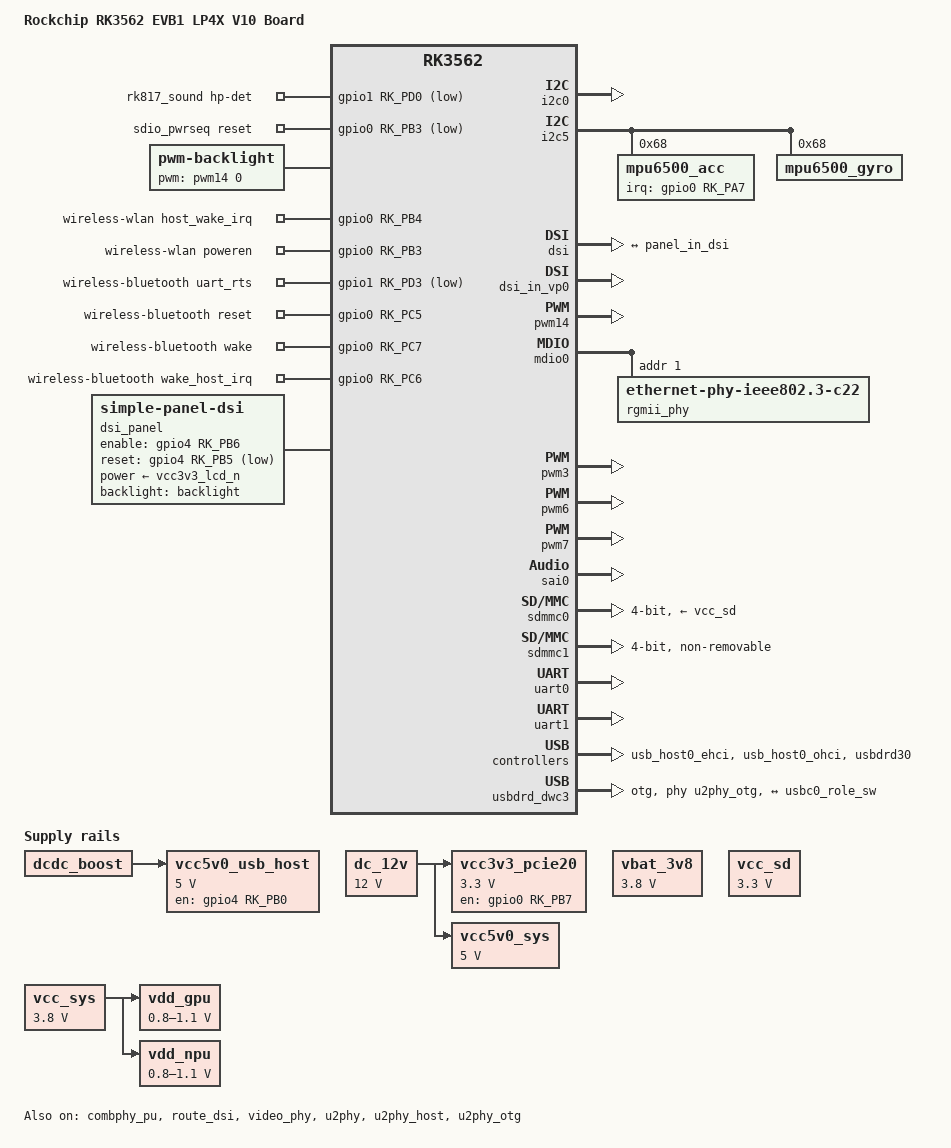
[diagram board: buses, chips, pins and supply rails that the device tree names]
// SPDX-License-Identifier: (GPL-2.0+ OR MIT)
/*
 * Copyright (c) 2022 Rockchip Electronics Co., Ltd.
 *
 */

/dts-v1/;

#include "dt-bindings/usb/pd.h"
#include "rk3562.dtsi"
#include "rk3562-evb.dtsi"
#include "rk3562-evb1-cam.dtsi"
#include <dt-bindings/gpio/gpio.h>
#include <dt-bindings/pinctrl/rockchip.h>
#include <dt-bindings/sensor-dev.h>
#include <dt-bindings/display/drm_mipi_dsi.h>

/ {
	model = "Rockchip RK3562 EVB1 LP4X V10 Board";
	compatible = "rockchip,rk3562-evb1-lp4x-v10", "rockchip,rk3562";

	dc_12v: dc-12v {
		compatible = "regulator-fixed";
		regulator-name = "dc_12v";
		regulator-always-on;
		regulator-boot-on;
		regulator-min-microvolt = <12000000>;
		regulator-max-microvolt = <12000000>;
	};

	rk817_sound: rk817-sound {
		status = "okay";
		compatible = "rockchip,multicodecs-card";
		rockchip,card-name = "rockchip-rk817";
		hp-det-gpio = <&gpio1 RK_PD0 GPIO_ACTIVE_LOW>;
		rockchip,format = "i2s";
		rockchip,mclk-fs = <256>;
		rockchip,cpu = <&sai0>;
		rockchip,codec = <&rk817_codec>;
		pinctrl-names = "default";
		pinctrl-0 = <&hp_det>;
	};

	sdio_pwrseq: sdio-pwrseq {
		compatible = "mmc-pwrseq-simple";
		clocks = <&rk817 1>;
		clock-names = "ext_clock";
		pinctrl-names = "default";
		pinctrl-0 = <&wifi_enable_h>;

		/*
		 * On the module itself this is one of these (depending
		 * on the actual card populated):
		 * - SDIO_RESET_L_WL_REG_ON
		 * - PDN (power down when low)
		 */
		post-power-on-delay-ms = <200>;
		reset-gpios = <&gpio0 RK_PB3 GPIO_ACTIVE_LOW>;
	};

	vcc3v3_pcie20: vcc3v3-pcie20 {
		compatible = "regulator-fixed";
		regulator-name = "vcc3v3_pcie20";
		regulator-min-microvolt = <3300000>;
		regulator-max-microvolt = <3300000>;
		enable-active-high;
		gpios = <&gpio0 RK_PB7 GPIO_ACTIVE_HIGH>;
		startup-delay-us = <5000>;
		vin-supply = <&dc_12v>;
	};

	vcc5v0_sys: vcc5v0-sys {
		compatible = "regulator-fixed";
		regulator-name = "vcc5v0_sys";
		regulator-always-on;
		regulator-boot-on;
		regulator-min-microvolt = <5000000>;
		regulator-max-microvolt = <5000000>;
		vin-supply = <&dc_12v>;
	};

	vcc5v0_usb_host: vcc5v0-usb-host {
		compatible = "regulator-fixed";
		regulator-name = "vcc5v0_usb_host";
		regulator-boot-on;
		regulator-always-on;
		regulator-min-microvolt = <5000000>;
		regulator-max-microvolt = <5000000>;
		enable-active-high;
		gpio = <&gpio4 RK_PB0 GPIO_ACTIVE_HIGH>;
		vin-supply = <&dcdc_boost>;
		pinctrl-names = "default";
		pinctrl-0 = <&usb_host_pwren>;
	};

	vbat_3v8: vbat-3v8 {
		compatible = "regulator-fixed";
		regulator-name = "vbat_3v8";
		regulator-always-on;
		regulator-boot-on;
		regulator-min-microvolt = <3800000>;
		regulator-max-microvolt = <3800000>;
	};

	vcc_sd: vcc-sd {
		compatible = "regulator-gpio";
		enable-active-low;
		regulator-boot-on;
		gpios = <&gpio0 RK_PA5 GPIO_ACTIVE_LOW>;
		regulator-min-microvolt = <3300000>;
		regulator-max-microvolt = <3300000>;
		pinctrl-names = "default";
		pinctrl-0 = <&vcc_sd_h>;
		regulator-name = "vcc_sd";
		states = <0 0x0
			  3300000 0x1>;
	};

	vcc_sys: vcc-sys {
		compatible = "regulator-fixed";
		regulator-name = "vcc_sys";
		regulator-always-on;
		regulator-boot-on;
		regulator-min-microvolt = <3800000>;
		regulator-max-microvolt = <3800000>;
	};

	vdd_gpu: vdd-gpu {
		compatible = "pwm-regulator";
		pwms = <&pwm7 0 5000 1>;
		regulator-name = "vdd_gpu";
		regulator-min-microvolt = <800000>;
		regulator-max-microvolt = <1100000>;
		regulator-init-microvolt = <900000>;
		regulator-always-on;
		regulator-boot-on;
		regulator-settling-time-up-us = <250>;
		pwm-supply = <&vcc_sys>;
		status = "okay";
	};

	vdd_npu: vdd-npu {
		compatible = "pwm-regulator";
		pwms = <&pwm6 0 5000 1>;
		regulator-name = "vdd_npu";
		regulator-min-microvolt = <800000>;
		regulator-max-microvolt = <1100000>;
		regulator-init-microvolt = <900000>;
		regulator-always-on;
		regulator-boot-on;
		regulator-settling-time-up-us = <250>;
		pwm-supply = <&vcc_sys>;
		status = "okay";
	};

	backlight: backlight {
		compatible = "pwm-backlight";
		pwms = <&pwm14 0 25000 0>;
		brightness-levels = <
			  0  20  20  21  21  22  22  23
			 23  24  24  25  25  26  26  27
			 27  28  28  29  29  30  30  31
			 31  32  32  33  33  34  34  35
			 35  36  36  37  37  38  38  39
			 40  41  42  43  44  45  46  47
			 48  49  50  51  52  53  54  55
			 56  57  58  59  60  61  62  63
			 64  65  66  67  68  69  70  71
			 72  73  74  75  76  77  78  79
			 80  81  82  83  84  85  86  87
			 88  89  90  91  92  93  94  95
			 96  97  98  99 100 101 102 103
			104 105 106 107 108 109 110 111
			112 113 114 115 116 117 118 119
			120 121 122 123 124 125 126 127
			128 129 130 131 132 133 134 135
			136 137 138 139 140 141 142 143
			144 145 146 147 148 149 150 151
			152 153 154 155 156 157 158 159
			160 161 162 163 164 165 166 167
			168 169 170 171 172 173 174 175
			176 177 178 179 180 181 182 183
			184 185 186 187 188 189 190 191
			192 193 194 195 196 197 198 199
			200 201 202 203 204 205 206 207
			208 209 210 211 212 213 214 215
			216 217 218 219 220 221 222 223
			224 225 226 227 228 229 230 231
			232 233 234 235 236 237 238 239
			240 241 242 243 244 245 246 247
			248 249 250 251 252 253 254 255
		>;
		default-brightness-level = <160>;
	};

	wireless-wlan {
		compatible = "wlan-platdata";
		rockchip,grf = <&sys_grf>;
		wifi_chip_type = "ap6275s";
		pinctrl-names = "default";
		pinctrl-0 = <&wifi_host_wake_irq>;
		WIFI,host_wake_irq = <&gpio0 RK_PB4 GPIO_ACTIVE_HIGH>;
		WIFI,poweren_gpio = <&gpio0 RK_PB3 GPIO_ACTIVE_HIGH>;
		status = "okay";
	};

	wireless-bluetooth {
		compatible = "bluetooth-platdata";
		clocks = <&rk817 1>;
		clock-names = "ext_clock";
		//wifi-bt-power-toggle;
		uart_rts_gpios = <&gpio1 RK_PD3 GPIO_ACTIVE_LOW>;
		pinctrl-names = "default", "rts_gpio";
		pinctrl-0 = <&uart1m0_rtsn>;
		pinctrl-1 = <&uart1_gpios>;
		BT,reset_gpio    = <&gpio0 RK_PC5 GPIO_ACTIVE_HIGH>;
		BT,wake_gpio     = <&gpio0 RK_PC7 GPIO_ACTIVE_HIGH>;
		BT,wake_host_irq = <&gpio0 RK_PC6 GPIO_ACTIVE_HIGH>;
		status = "okay";
	};
};

&gmac0 {
	/* Use rgmii-rxid mode to disable rx delay inside Soc */
	phy-mode = "rgmii-rxid";
	clock_in_out = "output";

	snps,reset-gpio = <&gpio3 RK_PA0 GPIO_ACTIVE_LOW>;
	snps,reset-active-low;
	/* Reset time is 20ms, 100ms for rtl8211f */
	snps,reset-delays-us = <0 20000 100000>;

	tx_delay = <0x42>;
	/* rx_delay = <0x3f>; */

	pinctrl-names = "default";
	pinctrl-0 = <&rgmiim0_miim
		     &rgmiim0_tx_bus2
		     &rgmiim0_rx_bus2
		     &rgmiim0_rgmii_clk
		     &rgmiim0_rgmii_bus
		     &ethm0_pins>;

	phy-handle = <&rgmii_phy>;
	status = "disabled";
};

&i2c0 {
	status = "okay";

	usbc0: fusb302@22 {
		compatible = "fcs,fusb302";
		reg = <0x22>;
		interrupt-parent = <&gpio1>;
		interrupts = <RK_PC7 IRQ_TYPE_LEVEL_LOW>;
		pinctrl-names = "default";
		pinctrl-0 = <&usbc0_int>;
		vbus-supply = <&otg_switch>;
		status = "disabled";

		ports {
			#address-cells = <1>;
			#size-cells = <0>;

			port@0 {
				reg = <0>;
				usbc0_role_sw: endpoint@0 {
					remote-endpoint = <&dwc3_role_switch>;
				};
			};
		};

		usb_con: connector {
			compatible = "usb-c-connector";
			label = "USB-C";
			data-role = "dual";
			power-role = "dual";
			try-power-role = "sink";
			op-sink-microwatt = <1000000>;
			sink-pdos =
				<PDO_FIXED(5000, 1000, PDO_FIXED_USB_COMM)>;
			source-pdos =
				<PDO_FIXED(5000, 3000, PDO_FIXED_USB_COMM)>;
		};
	};
};

&i2c5 {
	status = "okay";

	mpu6500_acc: mpu_acc@68 {
		compatible = "mpu6500_acc";
		reg = <0x68>;
		irq-gpio = <&gpio0 RK_PA7 IRQ_TYPE_EDGE_RISING>;
		irq_enable = <0>;
		poll_delay_ms = <30>;
		type = <SENSOR_TYPE_ACCEL>;
		layout = <3>;
	};

	mpu6500_gyro: mpu_gyro@68 {
		compatible = "mpu6500_gyro";
		reg = <0x68>;
		poll_delay_ms = <30>;
		type = <SENSOR_TYPE_GYROSCOPE>;
		layout = <3>;
	};
};

&combphy_pu {
	status = "okay";
};

&dsi {
	status = "okay";

	ports {
		#address-cells = <1>;
		#size-cells = <0>;

		port@1 {
			reg = <1>;
			dsi_out_panel: endpoint {
				remote-endpoint = <&panel_in_dsi>;
			};
		};
	};
};

&dsi_in_vp0 {
	status = "okay";
};

&dsi_panel {
	compatible = "simple-panel-dsi";
	backlight = <&backlight>;
	enable-gpios = <&gpio4 RK_PB6 GPIO_ACTIVE_HIGH>;
	reset-gpios = <&gpio4 RK_PB5 GPIO_ACTIVE_LOW>;
	power-supply = <&vcc3v3_lcd_n>;

	prepare-delay-ms = <20>;
	reset-delay-ms = <20>;
	init-delay-ms = <20>;
	enable-delay-ms = <120>;
	disable-delay-ms = <20>;
	unprepare-delay-ms = <20>;

	width-mm = <135>;
	height-mm = <216>;

	bpc = <8>;
	bus-format = <0x1009>; /* MEDIA_BUS_FMT_RGB888_1X24 */

	dsi,flags = <(MIPI_DSI_MODE_VIDEO | MIPI_DSI_MODE_VIDEO_BURST | MIPI_DSI_MODE_LPM)>;
	dsi,format = <MIPI_DSI_FMT_RGB888>;
	dsi,lanes = <4>;

	panel-init-sequence = [
		29 00 03 e0 ab ba
		29 00 03 e1 ba ab
		29 00 05 b1 10 01 47 ff
		29 00 07 b2 0c 14 04 50 50 14
		29 00 04 b3 56 53 00
		29 00 04 b4 33 30 04
		29 00 08 b6 b0 00 00 10 00 10 00
		29 00 06 b8 05 12 29 49 48
		29 00 27 b9 7c 65 55 49 46 36 3b 24 3d 3c 3d 5c 4c 55 47 46 39 26 06 7c 65 55 49 46 36 3b 24 3d 3c 3d 5c 4c 55 47 46 39 26 06
		29 00 11 c0 ff 87 12 34 44 44 44 44 98 04 98 04 0f 00 00 c1
		29 00 0b c1 54 94 02 85 9f 00 7f 00 54 00
		29 00 0d c2 17 09 08 89 08 11 22 20 44 ff 18 00
		29 00 17 c3 86 46 05 05 1c 1c 1d 1d 02 1f 1f 1e 1e 0f 0f 0d 0d 13 13 11 11 00
		29 00 17 c4 07 07 04 04 1c 1c 1d 1d 02 1f 1f 1e 1e 0e 0e 0c 0c 12 12 10 10 00
		29 00 03 c6 2a 2a
		29 00 07 c8 21 00 31 42 34 16
		29 00 03 ca cb 43
		29 00 09 cd 0e 4b 4b 20 19 6b 06 b3
		29 00 05 d2 e3 2b 38 00
		29 00 0c d4 00 01 00 0e 04 44 08 10 00 00 00
		29 00 09 e6 80 01 ff ff ff ff ff ff
		29 00 06 f0 12 03 20 00 ff
		23 00 02 f3 00 05
		c8 01 11 05
		14 01 29
	];

	panel-init-sequence1 = [
		15 00 02 e0 00
		15 00 02 e1 93
		15 00 02 e2 65
		15 00 02 e3 f8
		15 00 02 80 03
		15 00 02 e0 01
		15 00 02 00 00
		15 00 02 01 3b
		15 00 02 0c 74
		15 00 02 17 00
		15 00 02 18 af
		15 00 02 19 00
		15 00 02 1a 00
		15 00 02 1b af
		15 00 02 1c 00
		15 00 02 35 26
		15 00 02 37 09
		15 00 02 38 04
		15 00 02 39 00
		15 00 02 3a 01
		15 00 02 3c 78
		15 00 02 3d ff
		15 00 02 3e ff
		15 00 02 3f 7f
		15 00 02 40 06
		15 00 02 41 a0
		15 00 02 42 81
		15 00 02 43 14
		15 00 02 44 23
		15 00 02 45 28
		15 00 02 55 02
		15 00 02 57 69
		15 00 02 59 0a
		15 00 02 5a 2a
		15 00 02 5b 17
		15 00 02 5d 7f
		15 00 02 5e 6b
		15 00 02 5f 5c
		15 00 02 60 4f
		15 00 02 61 4d
		15 00 02 62 3f
		15 00 02 63 42
		15 00 02 64 2b
		15 00 02 65 44
		15 00 02 66 43
		15 00 02 67 43
		15 00 02 68 63
		15 00 02 69 52
		15 00 02 6a 5a
		15 00 02 6b 4f
		15 00 02 6c 4e
		15 00 02 6d 20
		15 00 02 6e 0f
		15 00 02 6f 00
		15 00 02 70 7f
		15 00 02 71 6b
		15 00 02 72 5c
		15 00 02 73 4f
		15 00 02 74 4d
		15 00 02 75 3f
		15 00 02 76 42
		15 00 02 77 2b
		15 00 02 78 44
		15 00 02 79 43
		15 00 02 7a 43
		15 00 02 7b 63
		15 00 02 7c 52
		15 00 02 7d 5a
		15 00 02 7e 4f
		15 00 02 7f 4e
		15 00 02 80 20
		15 00 02 81 0f
		15 00 02 82 00
		15 00 02 e0 02
		15 00 02 00 02
		15 00 02 01 02
		15 00 02 02 00
		15 00 02 03 00
		15 00 02 04 1e
		15 00 02 05 1e
		15 00 02 06 1f
		15 00 02 07 1f
		15 00 02 08 1f
		15 00 02 09 17
		15 00 02 0a 17
		15 00 02 0b 37
		15 00 02 0c 37
		15 00 02 0d 47
		15 00 02 0e 47
		15 00 02 0f 45
		15 00 02 10 45
		15 00 02 11 4b
		15 00 02 12 4b
		15 00 02 13 49
		15 00 02 14 49
		15 00 02 15 1f
		15 00 02 16 01
		15 00 02 17 01
		15 00 02 18 00
		15 00 02 19 00
		15 00 02 1a 1e
		15 00 02 1b 1e
		15 00 02 1c 1f
		15 00 02 1d 1f
		15 00 02 1e 1f
		15 00 02 1f 17
		15 00 02 20 17
		15 00 02 21 37
		15 00 02 22 37
		15 00 02 23 46
		15 00 02 24 46
		15 00 02 25 44
		15 00 02 26 44
		15 00 02 27 4a
		15 00 02 28 4a
		15 00 02 29 48
		15 00 02 2a 48
		15 00 02 2b 1f
		15 00 02 2c 01
		15 00 02 2d 01
		15 00 02 2e 00
		15 00 02 2f 00
		15 00 02 30 1f
		15 00 02 31 1f
		15 00 02 32 1e
		15 00 02 33 1e
		15 00 02 34 1f
		15 00 02 35 17
		15 00 02 36 17
		15 00 02 37 37
		15 00 02 38 37
		15 00 02 39 08
		15 00 02 3a 08
		15 00 02 3b 0a
		15 00 02 3c 0a
		15 00 02 3d 04
		15 00 02 3e 04
		15 00 02 3f 06
		15 00 02 40 06
		15 00 02 41 1f
		15 00 02 42 02
		15 00 02 43 02
		15 00 02 44 00
		15 00 02 45 00
		15 00 02 46 1f
		15 00 02 47 1f
		15 00 02 48 1e
		15 00 02 49 1e
		15 00 02 4a 1f
		15 00 02 4b 17
		15 00 02 4c 17
		15 00 02 4d 37
		15 00 02 4e 37
		15 00 02 4f 09
		15 00 02 50 09
		15 00 02 51 0b
		15 00 02 52 0b
		15 00 02 53 05
		15 00 02 54 05
		15 00 02 55 07
		15 00 02 56 07
		15 00 02 57 1f
		15 00 02 58 40
		15 00 02 5b 30
		15 00 02 5c 16
		15 00 02 5d 34
		15 00 02 5e 05
		15 00 02 5f 02
		15 00 02 63 00
		15 00 02 64 6a
		15 00 02 67 73
		15 00 02 68 1d
		15 00 02 69 08
		15 00 02 6a 6a
		15 00 02 6b 08
		15 00 02 6c 00
		15 00 02 6d 00
		15 00 02 6e 00
		15 00 02 6f 88
		15 00 02 75 ff
		15 00 02 77 dd
		15 00 02 78 3f
		15 00 02 79 15
		15 00 02 7a 17
		15 00 02 7d 14
		15 00 02 7e 82
		15 00 02 e0 04
		15 00 02 00 0e
		15 00 02 02 b3
		15 00 02 09 61
		15 00 02 0e 48
		15 00 02 e0 00
		15 00 02 e6 02
		15 00 02 e7 0c
		05 78 01 11
		05 64 01 29
	];

	panel-exit-sequence = [
		05 00 01 28
		05 00 01 10
	];

	display-timings {
		native-mode = <&dsi_timing0>;

		dsi_timing0: timing0 {
			clock-frequency = <69999936>;
			hactive = <800>;
			vactive = <1280>;
			hfront-porch = <40>;
			hsync-len = <20>;
			hback-porch = <20>;
			vfront-porch = <20>;
			vsync-len = <4>;
			vback-porch = <20>;
			hsync-active = <0>;
			vsync-active = <0>;
			de-active = <0>;
			pixelclk-active = <1>;
		};
	};
};

&panel_in_dsi {
	remote-endpoint = <&dsi_out_panel>;
};

&pwm14 {
	status = "okay";
};

&mdio0 {
	rgmii_phy: phy@1 {
		compatible = "ethernet-phy-ieee802.3-c22";
		reg = <0x1>;
		clocks = <&cru CLK_GMAC_ETH_OUT2IO>;
		assigned-clocks = <&cru CLK_GMAC_ETH_OUT2IO>;
		assigned-clock-rates = <25000000>;
	};
};

&pwm3 {
	status = "okay";

	compatible = "rockchip,remotectl-pwm";
	pinctrl-names = "default";
	pinctrl-0 = <&pwm3m0_pins>;
	assigned-clocks = <&cru CLK_PMU1_PWM0>;
	assigned-clock-rates = <24000000>;
	remote_pwm_id = <3>;
	handle_cpu_id = <1>;
	remote_support_psci = <1>;

	ir_key1 {
		rockchip,usercode = <0x4040>;
		rockchip,key_table =
			<0xf2	KEY_REPLY>,
			<0xba	KEY_BACK>,
			<0xf4	KEY_UP>,
			<0xf1	KEY_DOWN>,
			<0xef	KEY_LEFT>,
			<0xee	KEY_RIGHT>,
			<0xbd	KEY_HOME>,
			<0xea	KEY_VOLUMEUP>,
			<0xe3	KEY_VOLUMEDOWN>,
			<0xe2	KEY_SEARCH>,
			<0xb2	KEY_POWER>,
			<0xbc	KEY_MUTE>,
			<0xec	KEY_MENU>,
			<0xbf	0x190>,
			<0xe0	0x191>,
			<0xe1	0x192>,
			<0xe9	183>,
			<0xe6	248>,
			<0xe8	185>,
			<0xe7	186>,
			<0xf0	388>,
			<0xbe	0x175>;
	};

	ir_key2 {
		rockchip,usercode = <0xff00>;
		rockchip,key_table =
			<0xf9	KEY_HOME>,
			<0xbf	KEY_BACK>,
			<0xfb	KEY_MENU>,
			<0xaa	KEY_REPLY>,
			<0xb9	KEY_UP>,
			<0xe9	KEY_DOWN>,
			<0xb8	KEY_LEFT>,
			<0xea	KEY_RIGHT>,
			<0xeb	KEY_VOLUMEDOWN>,
			<0xef	KEY_VOLUMEUP>,
			<0xf7	KEY_MUTE>,
			<0xe7	KEY_POWER>,
			<0xfc	KEY_POWER>,
			<0xa9	KEY_VOLUMEDOWN>,
			<0xa8	KEY_VOLUMEDOWN>,
			<0xe0	KEY_VOLUMEDOWN>,
			<0xa5	KEY_VOLUMEDOWN>,
			<0xab	183>,
			<0xb7	388>,
			<0xe8	388>,
			<0xf8	184>,
			<0xaf	185>,
			<0xed	KEY_VOLUMEDOWN>,
			<0xee	186>,
			<0xb3	KEY_VOLUMEDOWN>,
			<0xf1	KEY_VOLUMEDOWN>,
			<0xf2	KEY_VOLUMEDOWN>,
			<0xf3	KEY_SEARCH>,
			<0xb4	KEY_VOLUMEDOWN>,
			<0xbe	KEY_SEARCH>;
	};

	ir_key3 {
		rockchip,usercode = <0x1dcc>;
		rockchip,key_table =
			<0xee	KEY_REPLY>,
			<0xf0	KEY_BACK>,
			<0xf8	KEY_UP>,
			<0xbb	KEY_DOWN>,
			<0xef	KEY_LEFT>,
			<0xed	KEY_RIGHT>,
			<0xfc	KEY_HOME>,
			<0xf1	KEY_VOLUMEUP>,
			<0xfd	KEY_VOLUMEDOWN>,
			<0xb7	KEY_SEARCH>,
			<0xff	KEY_POWER>,
			<0xf3	KEY_MUTE>,
			<0xbf	KEY_MENU>,
			<0xf9	0x191>,
			<0xf5	0x192>,
			<0xb3	388>,
			<0xbe	KEY_1>,
			<0xba	KEY_2>,
			<0xb2	KEY_3>,
			<0xbd	KEY_4>,
			<0xf9	KEY_5>,
			<0xb1	KEY_6>,
			<0xfc	KEY_7>,
			<0xf8	KEY_8>,
			<0xb0	KEY_9>,
			<0xb6	KEY_0>,
			<0xb5	KEY_BACKSPACE>;
	};
};

&pwm6 {
	status = "okay";
};

&pwm7 {
	status = "okay";
};

&route_dsi {
	status = "okay";
};

&vcc3v3_lcd_n {
	gpio = <&gpio0 RK_PC3 GPIO_ACTIVE_HIGH>;
	enable-active-high;
};

&video_phy {
	status = "okay";
};

&pcie2x1 {
	reset-gpios = <&gpio3 RK_PB0 GPIO_ACTIVE_HIGH>;
	vpcie3v3-supply = <&vcc3v3_pcie20>;
	status = "disabled";
};

&pinctrl {
	headphone {
		hp_det: hp-det {
			rockchip,pins = <1 RK_PD0 RK_FUNC_GPIO &pcfg_pull_none>;
		};
	};

	lcd {
		lcd_rst_gpio: lcd-rst-gpio {
			rockchip,pins = <0 RK_PC4 RK_FUNC_GPIO &pcfg_pull_none>;
		};
	};

	sdio-pwrseq {
		wifi_enable_h: wifi-enable-h {
			rockchip,pins = <0 RK_PB3 RK_FUNC_GPIO &pcfg_pull_none>;
		};
	};

	vcc_sd {
		vcc_sd_h: vcc-sd-h {
			rockchip,pins = <0 RK_PA5 RK_FUNC_GPIO &pcfg_pull_down>;
		};
	};

	usb {
		usb_host_pwren: usb-host-pwren {
			rockchip,pins = <4 RK_PB0 RK_FUNC_GPIO &pcfg_pull_none>;
		};

		usbc0_int: usbc0-int {
			rockchip,pins = <1 RK_PC7 RK_FUNC_GPIO &pcfg_pull_up>;
		};
	};

	wireless-wlan {
		wifi_host_wake_irq: wifi-host-wake-irq {
			rockchip,pins = <0 RK_PB4 RK_FUNC_GPIO &pcfg_pull_down>;
		};
	};

	wireless-bluetooth {
		uart1_gpios: uart1-gpios {
			rockchip,pins = <1 RK_PD3 RK_FUNC_GPIO &pcfg_pull_none>;
		};
	};
};

&sai0 {
	status = "okay";
	pinctrl-names = "default";
	pinctrl-0 = <&i2s0m0_lrck
		     &i2s0m0_sclk
		     &i2s0m0_sdi0
		     &i2s0m0_sdo0>;
};

&sdmmc0 {
	no-sdio;
	no-mmc;
	bus-width = <4>;
	cap-mmc-highspeed;
	cap-sd-highspeed;
	disable-wp;
	sd-uhs-sdr104;
	vmmc-supply = <&vcc_sd>;
	vqmmc-supply = <&vccio_sd>;
	pinctrl-names = "default";
	pinctrl-0 = <&sdmmc0_bus4 &sdmmc0_clk &sdmmc0_cmd &sdmmc0_det>;
	status = "okay";
};

&sdmmc1 {
	no-sd;
	no-mmc;
	bus-width = <4>;
	disable-wp;
	cap-sd-highspeed;
	cap-sdio-irq;
	keep-power-in-suspend;
	mmc-pwrseq = <&sdio_pwrseq>;
	non-removable;
	pinctrl-names = "default";
	pinctrl-0 = <&sdmmc1_bus4 &sdmmc1_cmd &sdmmc1_clk>;
	sd-uhs-sdr104;
	status = "okay";
};

&u2phy {
	status = "okay";
};

&u2phy_host {
	status = "okay";
	phy-supply = <&vcc5v0_usb_host>;
};

&u2phy_otg {
	status = "okay";
};

&uart0 {
	status = "okay";
	pinctrl-names = "default";
	pinctrl-0 = <&uart0m0_xfer>;
};

&uart1 {
	status = "okay";
	pinctrl-names = "default";
	pinctrl-0 = <&uart1m0_xfer &uart1m0_ctsn>;
};

&usb_host0_ehci {
	status = "okay";
};

&usb_host0_ohci {
	status = "okay";
};

&usbdrd30 {
	status = "okay";
};

&usbdrd_dwc3 {
	status = "okay";

	dr_mode = "otg";
	maximum-speed = "high-speed";
	phys = <&u2phy_otg>;
	phy-names = "usb2-phy";
	snps,dis_u2_susphy_quirk;
	snps,usb2-lpm-disable;
	usb-role-switch;
	port {
		#address-cells = <1>;
		#size-cells = <0>;
		dwc3_role_switch: endpoint@0 {
			reg = <0>;
			remote-endpoint = <&usbc0_role_sw>;
		};
	};
};
